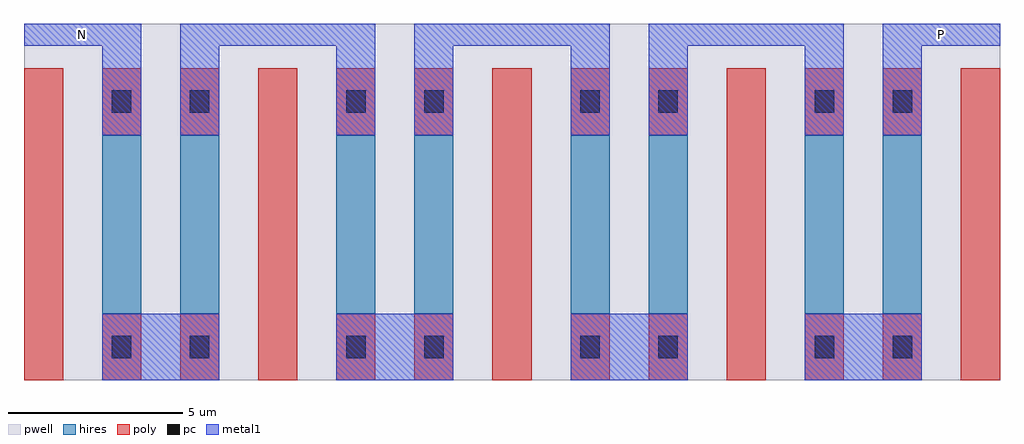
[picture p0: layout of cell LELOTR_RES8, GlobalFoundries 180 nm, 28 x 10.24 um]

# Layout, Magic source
magic
tech gf180mcuD
magscale 1 10
<< poly >>
rect 336 -64 560 64
rect 784 -64 1008 64
rect 1680 -64 1904 64
rect 2128 -64 2352 64
rect 3024 -64 3248 64
rect 3472 -64 3696 64
rect 4368 -64 4592 64
rect 4816 -64 5040 64
rect 336 64 560 192
rect 784 64 1008 192
rect 1680 64 1904 192
rect 2128 64 2352 192
rect 3024 64 3248 192
rect 3472 64 3696 192
rect 4368 64 4592 192
rect 4816 64 5040 192
rect 336 192 560 320
rect 784 192 1008 320
rect 1680 192 1904 320
rect 2128 192 2352 320
rect 3024 192 3248 320
rect 3472 192 3696 320
rect 4368 192 4592 320
rect 4816 192 5040 320
rect 336 1344 560 1472
rect 784 1344 1008 1472
rect 1680 1344 1904 1472
rect 2128 1344 2352 1472
rect 3024 1344 3248 1472
rect 3472 1344 3696 1472
rect 4368 1344 4592 1472
rect 4816 1344 5040 1472
rect 336 1472 560 1600
rect 784 1472 1008 1600
rect 1680 1472 1904 1600
rect 2128 1472 2352 1600
rect 3024 1472 3248 1600
rect 3472 1472 3696 1600
rect 4368 1472 4592 1600
rect 4816 1472 5040 1600
rect 336 1600 560 1728
rect 784 1600 1008 1728
rect 1680 1600 1904 1728
rect 2128 1600 2352 1728
rect 3024 1600 3248 1728
rect 3472 1600 3696 1728
rect 4368 1600 4592 1728
rect 4816 1600 5040 1728
rect -112 -64 112 64
rect 1232 -64 1456 64
rect 2576 -64 2800 64
rect 3920 -64 4144 64
rect 5264 -64 5488 64
rect -112 64 112 192
rect 1232 64 1456 192
rect 2576 64 2800 192
rect 3920 64 4144 192
rect 5264 64 5488 192
rect -112 192 112 320
rect 1232 192 1456 320
rect 2576 192 2800 320
rect 3920 192 4144 320
rect 5264 192 5488 320
rect -112 320 112 448
rect 1232 320 1456 448
rect 2576 320 2800 448
rect 3920 320 4144 448
rect 5264 320 5488 448
rect -112 448 112 576
rect 1232 448 1456 576
rect 2576 448 2800 576
rect 3920 448 4144 576
rect 5264 448 5488 576
rect -112 576 112 704
rect 1232 576 1456 704
rect 2576 576 2800 704
rect 3920 576 4144 704
rect 5264 576 5488 704
rect -112 704 112 832
rect 1232 704 1456 832
rect 2576 704 2800 832
rect 3920 704 4144 832
rect 5264 704 5488 832
rect -112 832 112 960
rect 1232 832 1456 960
rect 2576 832 2800 960
rect 3920 832 4144 960
rect 5264 832 5488 960
rect -112 960 112 1088
rect 1232 960 1456 1088
rect 2576 960 2800 1088
rect 3920 960 4144 1088
rect 5264 960 5488 1088
rect -112 1088 112 1216
rect 1232 1088 1456 1216
rect 2576 1088 2800 1216
rect 3920 1088 4144 1216
rect 5264 1088 5488 1216
rect -112 1216 112 1344
rect 1232 1216 1456 1344
rect 2576 1216 2800 1344
rect 3920 1216 4144 1344
rect 5264 1216 5488 1344
rect -112 1344 112 1472
rect 1232 1344 1456 1472
rect 2576 1344 2800 1472
rect 3920 1344 4144 1472
rect 5264 1344 5488 1472
rect -112 1472 112 1600
rect 1232 1472 1456 1600
rect 2576 1472 2800 1600
rect 3920 1472 4144 1600
rect 5264 1472 5488 1600
rect -112 1600 112 1728
rect 1232 1600 1456 1728
rect 2576 1600 2800 1728
rect 3920 1600 4144 1728
rect 5264 1600 5488 1728
<< hires >>
rect 336 320 560 448
rect 784 320 1008 448
rect 1680 320 1904 448
rect 2128 320 2352 448
rect 3024 320 3248 448
rect 3472 320 3696 448
rect 4368 320 4592 448
rect 4816 320 5040 448
rect 336 448 560 576
rect 784 448 1008 576
rect 1680 448 1904 576
rect 2128 448 2352 576
rect 3024 448 3248 576
rect 3472 448 3696 576
rect 4368 448 4592 576
rect 4816 448 5040 576
rect 336 576 560 704
rect 784 576 1008 704
rect 1680 576 1904 704
rect 2128 576 2352 704
rect 3024 576 3248 704
rect 3472 576 3696 704
rect 4368 576 4592 704
rect 4816 576 5040 704
rect 336 704 560 832
rect 784 704 1008 832
rect 1680 704 1904 832
rect 2128 704 2352 832
rect 3024 704 3248 832
rect 3472 704 3696 832
rect 4368 704 4592 832
rect 4816 704 5040 832
rect 336 832 560 960
rect 784 832 1008 960
rect 1680 832 1904 960
rect 2128 832 2352 960
rect 3024 832 3248 960
rect 3472 832 3696 960
rect 4368 832 4592 960
rect 4816 832 5040 960
rect 336 960 560 1088
rect 784 960 1008 1088
rect 1680 960 1904 1088
rect 2128 960 2352 1088
rect 3024 960 3248 1088
rect 3472 960 3696 1088
rect 4368 960 4592 1088
rect 4816 960 5040 1088
rect 336 1088 560 1216
rect 784 1088 1008 1216
rect 1680 1088 1904 1216
rect 2128 1088 2352 1216
rect 3024 1088 3248 1216
rect 3472 1088 3696 1216
rect 4368 1088 4592 1216
rect 4816 1088 5040 1216
rect 336 1216 560 1344
rect 784 1216 1008 1344
rect 1680 1216 1904 1344
rect 2128 1216 2352 1344
rect 3024 1216 3248 1344
rect 3472 1216 3696 1344
rect 4368 1216 4592 1344
rect 4816 1216 5040 1344
<< pc >>
rect 392 64 504 128
rect 392 128 504 192
rect 840 64 952 128
rect 840 128 952 192
rect 1736 64 1848 128
rect 1736 128 1848 192
rect 2184 64 2296 128
rect 2184 128 2296 192
rect 3080 64 3192 128
rect 3080 128 3192 192
rect 3528 64 3640 128
rect 3528 128 3640 192
rect 4424 64 4536 128
rect 4424 128 4536 192
rect 4872 64 4984 128
rect 4872 128 4984 192
rect 392 1472 504 1536
rect 392 1536 504 1600
rect 840 1472 952 1536
rect 840 1536 952 1600
rect 1736 1472 1848 1536
rect 1736 1536 1848 1600
rect 2184 1472 2296 1536
rect 2184 1536 2296 1600
rect 3080 1472 3192 1536
rect 3080 1536 3192 1600
rect 3528 1472 3640 1536
rect 3528 1536 3640 1600
rect 4424 1472 4536 1536
rect 4424 1536 4536 1600
rect 4872 1472 4984 1536
rect 4872 1536 4984 1600
<< metal1 >>
rect 336 -64 1008 64
rect 1680 -64 2352 64
rect 3024 -64 3696 64
rect 4368 -64 5040 64
rect 336 64 1008 192
rect 1680 64 2352 192
rect 3024 64 3696 192
rect 4368 64 5040 192
rect 336 192 1008 320
rect 1680 192 2352 320
rect 3024 192 3696 320
rect 4368 192 5040 320
rect 336 1344 560 1472
rect 784 1344 1008 1472
rect 1680 1344 1904 1472
rect 2128 1344 2352 1472
rect 3024 1344 3248 1472
rect 3472 1344 3696 1472
rect 4368 1344 4592 1472
rect 4816 1344 5040 1472
rect 336 1472 560 1600
rect 784 1472 1008 1600
rect 1680 1472 1904 1600
rect 2128 1472 2352 1600
rect 3024 1472 3248 1600
rect 3472 1472 3696 1600
rect 4368 1472 4592 1600
rect 4816 1472 5040 1600
rect 336 1600 560 1728
rect 784 1600 1008 1728
rect 1680 1600 1904 1728
rect 2128 1600 2352 1728
rect 3024 1600 3248 1728
rect 3472 1600 3696 1728
rect 4368 1600 4592 1728
rect 4816 1600 5040 1728
rect 336 1728 560 1856
rect 784 1728 1008 1856
rect 1680 1728 1904 1856
rect 2128 1728 2352 1856
rect 3024 1728 3248 1856
rect 3472 1728 3696 1856
rect 4368 1728 4592 1856
rect 4816 1728 5040 1856
rect -112 1856 560 1984
rect -112 1856 560 1984
rect 784 1856 1904 1984
rect 4816 1856 5488 1984
rect 2128 1856 3248 1984
rect 3472 1856 4592 1984
rect 4816 1856 5488 1984
<< pwell >>
rect -112 -64 5488 1984
<< labels >>
flabel metal1 s -112 1856 560 1984 0 FreeSans 400 0 0 0 N
port 1 nsew signal bidirectional
flabel metal1 s 4816 1856 5488 1984 0 FreeSans 400 0 0 0 P
port 2 nsew signal bidirectional
<< properties >>
string FIXED_BBOX 0 0 5376 1920
<< end >>
